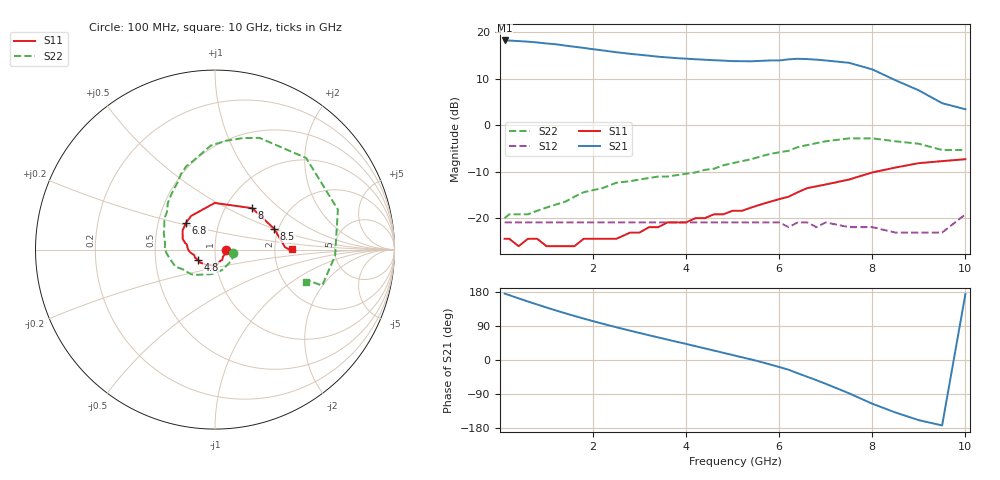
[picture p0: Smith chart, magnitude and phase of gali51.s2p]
! Gali-51, Mini-Circuits Lab
! Id = 65 mA
# mhz s ma r 50
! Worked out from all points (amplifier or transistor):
!   41 points, 100 MHz to 10 GHz, reference 50 ohm
!   highest |S21| = 18.2 dB at 100 MHz (marker M1)
!   |S21| within 3 dB of that: start of sweep to 2.925 GHz
!   unconditionally stable (mu >= 1): start of sweep to 5.748 GHz; 8.389 GHz to end of sweep
!   at 1.2 GHz: K = 1.07, MAG = 17.5 dB, |S12| = -20.9 dB
!   at 4.2 GHz: K = 1.17, MAG = 15.0 dB, |S12| = -20.9 dB
!   at 10 GHz: K = 1.62, MAG = 6.7 dB, |S12| = -19.2 dB
!   S11 on the Smith chart (normalised r, x): 100 MHz: 1.13, -0.00; 4.8 GHz: 0.82, -0.10; 6.8 GHz: 0.69, +0.22; 8 GHz: 1.33, +0.68; 8.5 GHz: 1.90, +0.50; 10 GHz: 2.51, +0.02
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100  0.06 -0.5  8.12 175.2  0.09 0.1  0.1 -10.9
400  0.05 0.5  8 162.7  0.09 -1.2  0.11 -34.1
600  0.06 4.6  7.88 154.4  0.09 -2.4  0.11 -53.0
1000  0.05 3.1  7.54 138.5  0.09 -3.6  0.13 -86.6
1400  0.05 -2.6  7.16 123.4  0.09 -4.2  0.15 -113.0
1800  0.06 -11.0  6.75 109.3  0.09 -6.0  0.19 -133.7
2500  0.06 -43.0  6.07 86.4  0.09 -8.6  0.24 -156.7
3400  0.08 -86.3  5.43 59.6  0.09 -13.4  0.28 179.1
4200  0.1 -119.9  5.1 36.5  0.09 -19.1  0.31 155.6
4800  0.11 -148.4  4.93 18.9  0.09 -25.3  0.37 135.2
5200  0.12 -165.4  4.86 7.1  0.09 -31.0  0.41 123.5
5800  0.15 179.6  4.95 -11.7  0.09 -40.9  0.49 109.2
6200  0.17 167.6  5.09 -25.7  0.08 -49.4  0.53 99.7
6400  0.19 161.4  5.16 -35.1  0.09 -54.7  0.58 92.3
6800  0.22 137.2  5.05 -53.3  0.08 -66.4  0.64 76.1
7000  0.23 125.2  4.95 -62.8  0.09 -74.3  0.67 68.3
7500  0.26 90.3  4.67 -87.8  0.08 -98.4  0.72 45.1
8000  0.31 48.1  3.97 -115.4  0.08 -126.8  0.72 18.0
8500  0.35 19.2  3.03 -138.7  0.07 -151.5  0.67 -2.9
9000  0.39 2.0  2.36 -158.8  0.07 -172.5  0.63 -18.5
9500  0.41 0.4  1.72 -172.7  0.07 -176.4  0.54 -18.4
10000  0.43 0.4  1.48 174.0  0.11 169.9  0.54 -19.8
